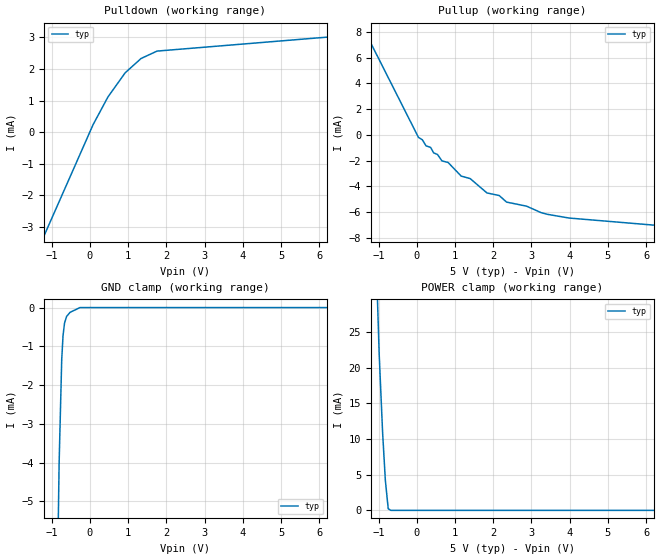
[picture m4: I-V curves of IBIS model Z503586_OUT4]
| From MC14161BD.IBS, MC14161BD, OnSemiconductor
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| (C) COPYRIGHT 1993-2000
| MENTOR GRAPHICS CORPORATION
| ICX STANDARD LIBRARY, ICX PROJECT MODELING,
| ICX CUSTOM MODELING, ICX VENDOR MODEL
| ALL RIGHTS RESERVED.
| THE FOLLOWING ARE TRADEMARKS OR SERVICE MARKS OF
| MENTOR GRAPHICS CORPORATION:ICX (R), ICX STANDARD
| LIBRARY(R), ICX PROJECT MODELING(R), ICX CUSTOM
| MODELING(R), qualityIBIS(TM), MODELVIEWER(TM),
| AND MODELEDITOR(TM)
| ALL COPIES OF SOFTWARE, INCLUDING BUT NOT LIMITED TO
| ANY MODIFICATIONS, ENHANCEMENTS OR DERIVATIVE WORKS,
| MUST CONTAIN ALL MENTOR GRAPHICS CORPORATION'S
| NOTICES AND LEGENDS, INCLUDING THOSE EMBEDDED IN
| SOFTWARE AND THOSE AFFIXED TO SOFTWARE MEDIUM
| AND CONTAINER, AS RECEIVED FROM MENTOR GRAPHICS
| CORPORATION.
| Model Application Version 1.89 2/18/99.
[Model] Z503586_OUT4
Model_type Output
Vref=0.000V
Rref=500.0Mohms
Cref=50.00pF
Vmeas=2.500V
C_comp 8.000pF NA NA
| variable typ   min   max
[Voltage Range] 5.000V NA NA
[POWER Clamp Reference] 5.000V NA NA
[Pullup Reference] 5.000V NA NA
[Pulldown Reference] 0.000V NA NA
[GND Clamp Reference] 0.000V NA NA
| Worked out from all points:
|   slope of the pulldown table from 0 to 0.75 V, typ, clamps not added: 475 ohm
|   slope of the pullup table from 0 to 0.75 V, typ, clamps not added: 348 ohm
|   GND clamp passes 1 mA (typ) near -0.72 V on its own axis
|   POWER clamp passes 1 mA (typ) near -0.76 V on its own axis
[GND Clamp]
-5V       -292mA     NA         NA
-805.4mV  -4.022mA   NA         NA
-737.2mV  -1.345mA   NA         NA
-703.2mV  -730.3uA   NA         NA
-664.1mV  -401.6uA   NA         NA
-610mV    -229.2uA   NA         NA
-517.3mV  -121.8uA   NA         NA
-258.7mV  0A         NA         NA
10V       0A         NA         NA
[Pulldown]
-5V       -13.73mA   NA         NA
83.27mV   235.2uA    NA         NA
474.3mV   1.118mA    NA         NA
923.2mV   1.88mA     NA         NA
1.338V    2.333mA    NA         NA
1.757V    2.568mA    NA         NA
10V       3.388mA    NA         NA
[Pullup]
-5V       29.45mA    NA         NA
43mV      -184.7uA   NA         NA
363mV     -971.4uA   NA         NA
659mV     -2.017mA   NA         NA
820mV     -2.139mA   NA         NA
1.162V    -3.197mA   NA         NA
1.397V    -3.39mA    NA         NA
1.836V    -4.504mA   NA         NA
2.157V    -4.706mA   NA         NA
2.35V     -5.216mA   NA         NA
3.984V    -6.454mA   NA         NA
10V       -7.948mA   NA         NA
[POWER Clamp]
-5V       704.3mA    NA         NA
-983mV    21.89mA    NA         NA
-894mV    10.94mA    NA         NA
-823mV    4.3mA      NA         NA
-747mV    230.8uA    NA         NA
-679.1mV  0A         NA         NA
10V       0A         NA         NA
[Ramp]
| variable typ min max
dV/dt_r 1.571/15.98n NA NA
dV/dt_f 1.571/24.33n NA NA
R_load = 500.0Ohms
